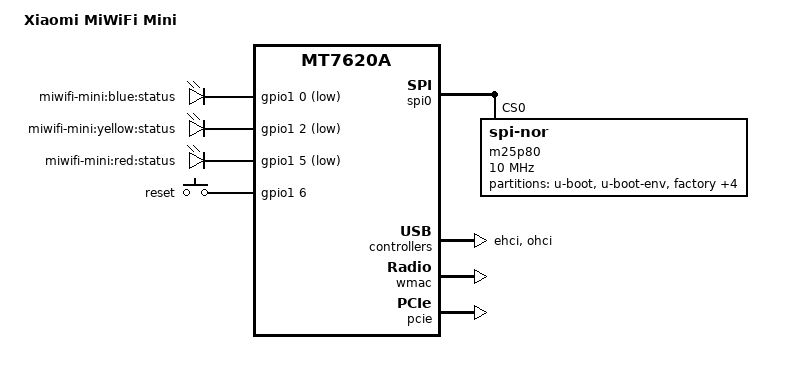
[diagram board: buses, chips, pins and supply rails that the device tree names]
/dts-v1/;

#include "mt7620a.dtsi"

/ {
	compatible = "xiaomi,miwifi-mini", "ralink,mt7620a-soc";
	model = "Xiaomi MiWiFi Mini";

	chosen {
		bootargs = "console=ttyS0,115200";
	};

	gpio-leds {
		compatible = "gpio-leds";

		blue {
			label = "miwifi-mini:blue:status";
			gpios = <&gpio1 0 1>;
		};

		yellow {
			label = "miwifi-mini:yellow:status";
			gpios = <&gpio1 2 1>;
		};

		red {
			label = "miwifi-mini:red:status";
			gpios = <&gpio1 5 1>;
		};
	};

	gpio-keys-polled {
		compatible = "gpio-keys-polled";
		#address-cells = <1>;
		#size-cells = <0>;
		poll-interval = <20>;

		reset {
			label = "reset";
			gpios = <&gpio1 6 0>;
			linux,code = <0x198>;
		};
	};
};

&gpio0 {
	status = "okay";
};

&gpio1 {
	status = "okay";
};

&gpio2 {
	status = "okay";
};

&spi0 {
	status = "okay";

	m25p80@0 {
		#address-cells = <1>;
		#size-cells = <1>;
		compatible = "jedec,spi-nor";
		reg = <0>;
		linux,modalias = "m25p80", "w25q128";
		spi-max-frequency = <10000000>;

		partition@0 {
			label = "u-boot";
			reg = <0x0 0x30000>;
		};

		partition@30000 {
			label = "u-boot-env";
			reg = <0x30000 0x10000>;
			read-only;
		};

		factory: partition@40000 {
			label = "factory";
			reg = <0x40000 0x10000>;
			read-only;
		};

		partition@50000 {
			label = "firmware";
			reg = <0x50000 0xf80000>;
		};

		partition@fd0000 {
			label = "crash";
			reg = <0xfd0000 0x10000>;
		};

		partition@fe0000 {
			label = "reserved";
			reg = <0xfe0000 0x10000>;
			read-only;
		};

		partition@ff0000 {
			label = "Bdata";
			reg = <0xff0000 0x10000>;
		};
	};
};

&ehci {
	status = "okay";
};

&ohci {
	status = "okay";
};

&ethernet {
	pinctrl-names = "default";
	pinctrl-0 = <&ephy_pins>;
	mtd-mac-address = <&factory 0x4>;
	mediatek,portmap = "llllw";
};

&wmac {
	ralink,mtd-eeprom = <&factory 0>;
};

&pcie {
	status = "okay";

	pcie-bridge {
		mt76@0,0 {
			reg = <0x0000 0 0 0 0>;
			device_type = "pci";
			mediatek,mtd-eeprom = <&factory 0x8000>;
			mediatek,2ghz = <0>;
		};
	};
};

&pinctrl {
	state_default: pinctrl0 {
		gpio {
			ralink,group = "i2c", "rgmii1";
			ralink,function = "gpio";
		};

		pa {
			ralink,group = "pa";
			ralink,function = "pa";
		};
	};
};
